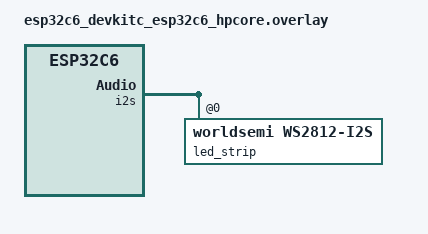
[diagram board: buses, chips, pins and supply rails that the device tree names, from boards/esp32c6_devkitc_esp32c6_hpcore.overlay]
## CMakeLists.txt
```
# Copyright (c) 2026 Espressif Systems (Shanghai) Co., Ltd.
# SPDX-License-Identifier: Apache-2.0

cmake_minimum_required(VERSION 3.20.0)
find_package(Zephyr REQUIRED HINTS $ENV{ZEPHYR_BASE})
project(app_rgb)

target_sources(app PRIVATE
  src/main.c
)

set(ext_src ${PROJECT_SOURCE_DIR}/module/src/rgb_app.c)
set(bin ${PROJECT_BINARY_DIR}/llext/rgb_app.llext)
set(inc ${ZEPHYR_BINARY_DIR}/include/generated/rgb_app.inc)
set(sha ${ZEPHYR_BINARY_DIR}/include/generated/rgb_app.sha256.inc)

app_platform_add_module(rgb_app_ext OUTPUT ${bin} SOURCES ${ext_src})
llext_include_directories(rgb_app_ext ${ZEPHYR_BINARY_DIR}/include/generated)
generate_inc_file_for_target(app ${bin} ${inc})

add_custom_command(
  OUTPUT  ${sha}
  COMMAND ${CMAKE_COMMAND}
    -DMODULE_BIN=${bin}
    -DOUT_INC=${sha}
    -P ${CMAKE_CURRENT_SOURCE_DIR}/cmake/gen_sha256_inc.cmake
  DEPENDS ${bin}
)
add_custom_target(rgb_app_sha DEPENDS ${sha})
add_dependencies(app rgb_app_sha)
```

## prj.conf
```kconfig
CONFIG_APPLICATION_DEFINED_SYSCALL=y

CONFIG_APP_PLATFORM=y
CONFIG_APP_PLATFORM_MAX_APPS=1
CONFIG_APP_PLATFORM_LOADER=y
CONFIG_APP_PLATFORM_SERVICES=y
CONFIG_APP_PLATFORM_RGB=y

CONFIG_TASK_WDT=y
CONFIG_TASK_WDT_CHANNELS=6

CONFIG_LLEXT=y
CONFIG_LLEXT_HEAP_SIZE=64
CONFIG_LLEXT_TYPE_ELF_RELOCATABLE=y
CONFIG_PSA_CRYPTO=y
CONFIG_MBEDTLS_ENABLE_HEAP=y
CONFIG_PSA_WANT_ALG_SHA_256=y

CONFIG_LED_STRIP=y

CONFIG_LOG=y
CONFIG_LOG_MODE_MINIMAL=y
CONFIG_THREAD_NAME=y

CONFIG_MAIN_STACK_SIZE=4096
CONFIG_HEAP_MEM_POOL_SIZE=16384
```

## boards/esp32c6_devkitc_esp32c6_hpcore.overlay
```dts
/*
 * Copyright (c) 2026 Espressif Systems (Shanghai) Co., Ltd.
 *
 * SPDX-License-Identifier: Apache-2.0
 */

#include <zephyr/dt-bindings/led/led.h>

/ {
	aliases {
		led-strip = &led_strip;
	};
};

&i2s_default {
	group1 {
		pinmux = <I2S_O_SD_GPIO8>;
	};
};

i2s_led: &i2s {
	status = "okay";

	dmas = <&dma 3>;
	dma-names = "tx";

	led_strip: ws2812@0 {
		compatible = "worldsemi,ws2812-i2s";

		reg = <0>;
		chain-length = <1>;
		color-mapping = <LED_COLOR_ID_GREEN
				 LED_COLOR_ID_RED
				 LED_COLOR_ID_BLUE>;
		reset-delay = <500>;
	};
};

&dma {
	status = "okay";
};
```

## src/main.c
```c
/*
 * Copyright (c) 2026 Espressif Systems (Shanghai) Co., Ltd.
 *
 * SPDX-License-Identifier: Apache-2.0
 */

/* Load a verified RGB LED application, grant it pixel 0 and wait for it to
 * finish cycling colors.
 */

#include <zephyr/app_platform/app_platform.h>
#include <zephyr/app_platform/app_loader.h>
#include <zephyr/app_platform/app_caps.h>
#include <zephyr/app_platform/app_services.h>
#include <zephyr/kernel.h>
#include <zephyr/sys/printk.h>

#define RGB_APP_WAIT_MS 30000

static const uint8_t rgb_app[] __aligned(8) = {
#include "rgb_app.inc"
};
static const uint8_t rgb_app_hash[32] = {
#include "rgb_app.sha256.inc"
};

int main(void)
{
	struct app_platform_status st;
	struct llext *ext = NULL;
	void *entry = NULL;
	int id;
	int rc;

	printk("\n*** app_rgb: RGB LED through a platform service ***\n");

	if (app_platform_init() != 0) {
		printk("platform init failed\n");
		return 0;
	}

	rc = app_loader_verify_load("rgb", rgb_app, ARRAY_SIZE(rgb_app), rgb_app_hash,
				    "app_main", &ext, &entry);
	if (rc != 0) {
		printk("load failed: %d\n", rc);
		return 0;
	}

	/* The only application slot is 0, so the grant is in place before launch. */
	app_platform_grant_rgb(0, BIT(0));

	id = app_platform_launch_llext("rgb", ext, (app_entry_t)entry, NULL,
				       APP_CAP_LOG | APP_CAP_RGB);
	if (id < 0) {
		printk("launch failed: %d\n", id);
		return 0;
	}

	for (int i = 0; i < RGB_APP_WAIT_MS / 100; i++) {
		if (app_platform_status(id, &st) != 0 || !st.active) {
			break;
		}
		k_msleep(100);
	}

	if (app_platform_status(id, &st) == 0 && st.active) {
		printk("\n*** done: rgb app still running after %d ms ***\n", RGB_APP_WAIT_MS);
		return 0;
	}

	printk("\n*** done: rgb app cycled pixel 0 and exited ***\n");
	return 0;
}
```
